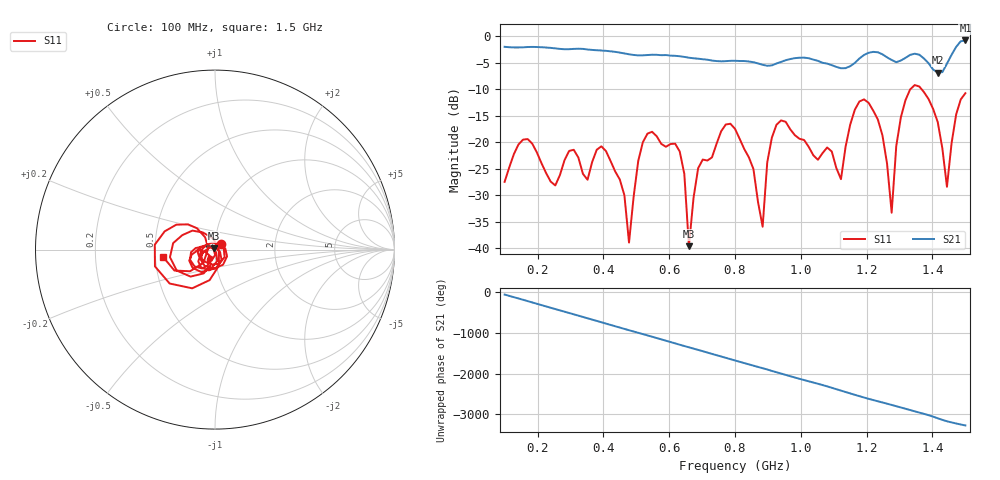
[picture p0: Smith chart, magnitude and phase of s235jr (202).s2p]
! NanoVNA-App
! Date: 2025-09-25 15:05:44
! Start: 100MHz Stop: 1,5GHz Points: 101
! S-Parameter data: F S11 S21 S12 S22
# Hz S RI R 50
!  Frequency  S11_Real  S11_Imag  S21_Real  S21_Imag  S12_Real  S12_Imag  S22_Real  S22_Imag
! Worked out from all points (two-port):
!   101 points, 100 MHz to 1.5 GHz, reference 50 ohm
!   highest |S21| = -0.76 dB at 1.5 GHz (marker M1); lowest = -6.8 dB at 1.416 GHz (marker M2)
!   |S21| within 3 dB of the highest: start of sweep to 634.6 MHz; 1.187 GHz to 1.257 GHz (70.78 MHz wide, 5.79 % of centre) (the widest 2 of 4)
!   lowest |S11| = -39.6 dB at 660 MHz (marker M3), VSWR 1.02, Z = 49.2 + j0.63 ohm
!   |S11| at or under -10 dB: start of sweep to 1.332 GHz; 1.367 GHz to end of sweep
!   S12 and S22 are empty: the file has one direction only
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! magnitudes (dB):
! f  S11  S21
! 100 MHz  -27.5  -2.0
! 170 MHz  -19.4  -2.0
! 338 MHz  -26.0  -2.4
! 408 MHz  -21.7  -2.7
! 478 MHz  -38.9  -3.4
! 520 MHz  -20.0  -3.6
! 576 MHz  -20.3  -3.5
! 632 MHz  -21.7  -3.7
! 660 MHz  -39.6  -4.0
! 688 MHz  -24.9  -4.2
! 800 MHz  -17.4  -4.6
! 884 MHz  -35.9  -5.4
! 926 MHz  -16.7  -5.1
! 1.038 GHz  -22.4  -4.4
! 1.122 GHz  -27.0  -6.0
! 1.192 GHz  -11.9  -3.5
! 1.248 GHz  -18.7  -3.4
! 1.276 GHz  -33.3  -4.4
! 1.332 GHz  -10.0  -3.5
! 1.416 GHz  -16.2  -6.8
! 1.444 GHz  -28.4  -5.1
! 1.5 GHz  -10.7  -0.8
